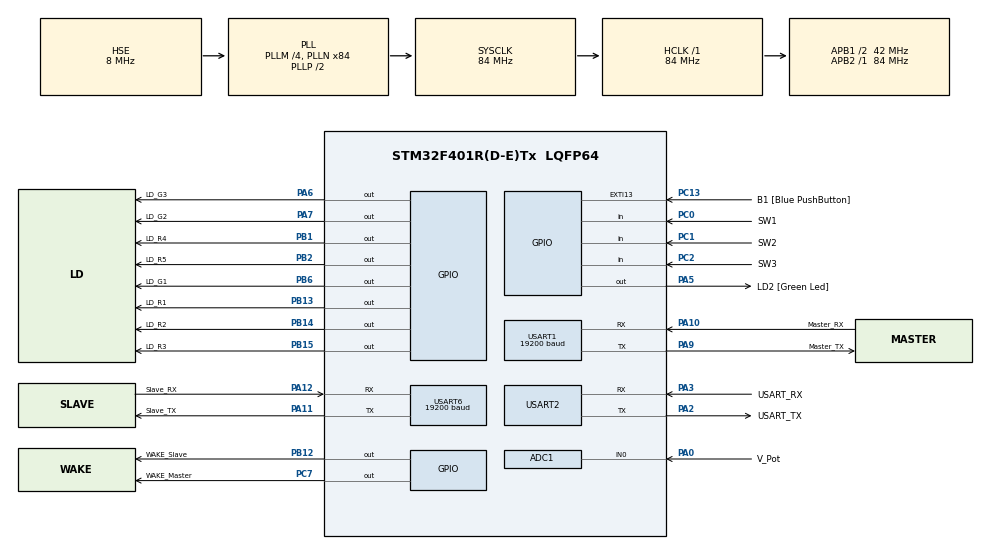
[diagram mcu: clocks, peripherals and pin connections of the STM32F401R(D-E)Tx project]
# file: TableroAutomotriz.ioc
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ADC1.Channel-1\#ChannelRegularConversion=ADC_CHANNEL_0
ADC1.NbrOfConversionFlag=1
ADC1.Rank-1\#ChannelRegularConversion=1
ADC1.SamplingTime-1\#ChannelRegularConversion=ADC_SAMPLETIME_3CYCLES
ADC1.master=1
Mcu.Family=STM32F4
Mcu.Name=STM32F401R(D-E)Tx
Mcu.Package=LQFP64
NVIC.PriorityGroup=NVIC_PRIORITYGROUP_0
NVIC.USART6_IRQn=true\:0\:0\:false\:false\:true\:true\:true\:true
PA0-WKUP.GPIO_Label=V_Pot
PA0-WKUP.Signal=ADCx_IN0
PA10.GPIO_Label=Master_RX
PA10.Mode=LIN
PA10.Signal=USART1_RX
PA11.GPIO_Label=Slave_TX
PA11.Mode=LIN
PA11.Signal=USART6_TX
PA12.GPIO_Label=Slave_RX
PA12.Mode=LIN
PA12.Signal=USART6_RX
PA13.GPIO_Label=TMS
PA13.Mode=Serial_Wire
PA13.Signal=SYS_JTMS-SWDIO
PA14.GPIO_Label=TCK
PA14.Mode=Serial_Wire
PA14.Signal=SYS_JTCK-SWCLK
PA2.GPIO_Label=USART_TX
PA2.GPIO_Mode=GPIO_MODE_AF_PP
PA2.GPIO_PuPd=GPIO_NOPULL
PA2.GPIO_Speed=GPIO_SPEED_FREQ_LOW
PA2.Mode=Asynchronous
PA2.Signal=USART2_TX
PA3.GPIO_Label=USART_RX
PA3.GPIO_Mode=GPIO_MODE_AF_PP
PA3.GPIO_PuPd=GPIO_NOPULL
PA3.GPIO_Speed=GPIO_SPEED_FREQ_LOW
PA3.Mode=Asynchronous
PA3.Signal=USART2_RX
PA5.GPIO_Label=LD2 [Green Led]
PA5.GPIO_Mode=GPIO_MODE_OUTPUT_PP
PA5.GPIO_PuPd=GPIO_NOPULL
PA5.GPIO_Speed=GPIO_SPEED_FREQ_LOW
PA5.Signal=GPIO_Output
PA6.GPIO_Label=LD_G3
PA6.Signal=GPIO_Output
PA7.GPIO_Label=LD_G2
PA7.Signal=GPIO_Output
PA9.GPIO_Label=Master_TX
PA9.Mode=LIN
PA9.Signal=USART1_TX
PB1.GPIO_Label=LD_R4
PB1.Signal=GPIO_Output
PB12.GPIO_Label=WAKE_Slave
PB12.GPIO_ModeDefaultOutputPP=GPIO_MODE_OUTPUT_PP
PB12.GPIO_PuPd=GPIO_NOPULL
PB12.GPIO_Speed=GPIO_SPEED_FREQ_LOW
PB12.PinState=GPIO_PIN_RESET
PB12.Signal=GPIO_Output
PB13.GPIO_Label=LD_R1
PB13.Signal=GPIO_Output
PB14.GPIO_Label=LD_R2
PB14.Signal=GPIO_Output
PB15.GPIO_Label=LD_R3
PB15.Signal=GPIO_Output
PB2.GPIO_Label=LD_R5
PB2.Signal=GPIO_Output
PB3.GPIO_Label=SWO
PB3.Signal=SYS_JTDO-SWO
PB6.GPIO_Label=LD_G1
PB6.Signal=GPIO_Output
PC0.GPIO_Label=SW1
PC0.GPIO_Mode=GPIO_MODE_INPUT
PC0.GPIO_PuPd=GPIO_PULLUP
PC0.Signal=GPIO_Input
PC1.GPIO_Label=SW2
PC1.GPIO_Mode=GPIO_MODE_INPUT
PC1.GPIO_PuPd=GPIO_PULLUP
PC1.Signal=GPIO_Input
PC13-ANTI_TAMP.GPIO_Label=B1 [Blue PushButton]
PC13-ANTI_TAMP.GPIO_ModeDefaultEXTI=GPIO_MODE_IT_FALLING
PC13-ANTI_TAMP.GPIO_PuPd=GPIO_NOPULL
PC13-ANTI_TAMP.Signal=GPXTI13
PC14-OSC32_IN.Mode=LSE-External-Oscillator
PC14-OSC32_IN.Signal=RCC_OSC32_IN
PC15-OSC32_OUT.Mode=LSE-External-Oscillator
PC15-OSC32_OUT.Signal=RCC_OSC32_OUT
PC2.GPIO_Label=SW3
PC2.GPIO_Mode=GPIO_MODE_INPUT
PC2.GPIO_PuPd=GPIO_PULLUP
PC2.Signal=GPIO_Input
PC7.GPIO_Label=WAKE_Master
PC7.GPIO_ModeDefaultOutputPP=GPIO_MODE_OUTPUT_PP
PC7.GPIO_PuPd=GPIO_NOPULL
PC7.GPIO_Speed=GPIO_SPEED_FREQ_LOW
PC7.PinState=GPIO_PIN_RESET
PC7.Signal=GPIO_Output
PH0\ -\ OSC_IN.Mode=HSE-External-Clock-Source
PH0\ -\ OSC_IN.Signal=RCC_OSC_IN
PH1\ -\ OSC_OUT.Mode=HSE-External-Clock-Source
PH1\ -\ OSC_OUT.Signal=RCC_OSC_OUT
ProjectManager.HeapSize=0x200
ProjectManager.StackSize=0x400
ProjectManager.TargetToolchain=STM32CubeIDE
RCC.48MHZClocksFreq_Value=24000000
RCC.AHBFreq_Value=84000000
RCC.APB1CLKDivider=RCC_HCLK_DIV2
RCC.APB1Freq_Value=42000000
RCC.APB1TimFreq_Value=84000000
RCC.APB2Freq_Value=84000000
RCC.APB2TimFreq_Value=84000000
RCC.CortexFreq_Value=84000000
RCC.HCLKFreq_Value=84000000
RCC.HSE_VALUE=8000000
RCC.HSI_VALUE=16000000
RCC.PLLM=4
RCC.PLLN=84
RCC.PLLQ=7
RCC.PLLSourceVirtual=RCC_PLLSOURCE_HSE
RCC.SYSCLKFreq_VALUE=84000000
RCC.SYSCLKSource=RCC_SYSCLKSOURCE_PLLCLK
RCC.VCOOutputFreq_Value=168000000
SH.ADCx_IN0.0=ADC1_IN0,IN0
USART1.BaudRate=19200
USART1.VirtualMode=VM_ASYNC
USART2.VirtualMode=VM_ASYNC
USART6.BaudRate=19200
USART6.VirtualMode=VM_ASYNC
board=NUCLEO-F401RE

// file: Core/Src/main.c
/* USER CODE BEGIN Header */
/**
  ******************************************************************************
  * @file           : main.c
  * @brief          : Main program body
  ******************************************************************************
  * @attention
  *
  * Copyright (c) 2026 STMicroelectronics.
  * All rights reserved.
  *
  * This software is licensed under terms that can be found in the LICENSE file
  * in the root directory of this software component.
  * If no LICENSE file comes with this software, it is provided AS-IS.
  *
  ******************************************************************************
  */
/* USER CODE END Header */
#include "main.h"

/* USER CODE BEGIN Includes */
#include <stdio.h>
#include <string.h>
/* USER CODE END Includes */

/* USER CODE BEGIN PD */
#define DIAG_DURATION 10000 //in milliseconds
#define DIAG_ON		1
#define DIAG_OFF 	0

#define SYNC		0x55
#define PID_DIAG	0x3C
#define PID_NORM	0x10
#define PID_SLSL 	0x20
/* USER CODE END PD */

ADC_HandleTypeDef hadc1;

UART_HandleTypeDef huart1;
UART_HandleTypeDef huart2;
UART_HandleTypeDef huart6;

/* USER CODE BEGIN PV */
extern UART_HandleTypeDef huart6;

// Variables para la recepción LIN (Esclavo en UART6)
volatile uint8_t lin_rx_byte;
volatile uint8_t lin_rx_buffer[8];
volatile uint8_t lin_rx_state = 0;
volatile uint8_t lin_rx_pid = 0;
volatile uint8_t lin_rx_index = 0;

// Estados MdE Slave
#define STATE_WAITING		0
#define STATE_PROCESS_PID	1
#define STATE_NORMAL		2
#define STATE_DIAGNOSTIC	3
#define STATE_SLAVE_SLAVE	4

// Variables para Diagnóstico (Punto 2)
volatile uint8_t modo_diagnostico_activo = DIAG_OFF;
volatile uint32_t tiempo_inicio_diagnostico = 0;
/* USER CODE END PV */

void SystemClock_Config(void);
static void MX_GPIO_Init(void);
static void MX_USART2_UART_Init(void);
static void MX_ADC1_Init(void);
static void MX_USART1_UART_Init(void);
static void MX_USART6_UART_Init(void);

/* USER CODE BEGIN 0 */
volatile uint32_t value_read_ADC;
volatile uint8_t debug_placa = 0;

void Test_Placa_Hardware(void);
uint8_t Calcular_Checksum(uint8_t *data, uint8_t length);
void Procesar_Trama_Esclavo(void);
/* USER CODE END 0 */

int main(void)
{

  /* MCU Configuration--------------------------------------------------------*/

  /* Reset of all peripherals, Initializes the Flash interface and the Systick. */
  HAL_Init();

  /* Configure the system clock */
  SystemClock_Config();

  /* Initialize all configured peripherals */
  MX_GPIO_Init();
  MX_USART2_UART_Init();
  MX_ADC1_Init();
  MX_USART1_UART_Init();
  MX_USART6_UART_Init();
  /* USER CODE BEGIN 2 */
  // NOTA: Los transceptores TJA1020 se inicializan por hardware de forma permanente
  // (NSLP está cableado a 3.3V y NWAKE fue físicamente desconectado de la STM32)

  // Iniciar la recepción por interrupción para el Esclavo (UART6)
  HAL_UART_Receive_IT(&huart6, (uint8_t *)&lin_rx_byte, 1);
  /* USER CODE END 2 */

  /* Infinite loop */
  /* USER CODE BEGIN WHILE */
  while (1)
  {
	  if(!debug_placa){
		  // --- CHEQUEO DE BOTON PARA DIAGNOSTICO (PUNTO 2) ---
		  // Usamos el boton azul de la Nucleo (PC13)
		  if (HAL_GPIO_ReadPin(GPIOC, GPIO_PIN_13) == GPIO_PIN_RESET) {
			  modo_diagnostico_activo = DIAG_ON;
			  tiempo_inicio_diagnostico = HAL_GetTick();
		  }

		  // Control de tiempo de diagnóstico (10 segundos)
		  if (modo_diagnostico_activo) {
			  if ((HAL_GetTick() - tiempo_inicio_diagnostico) > DIAG_DURATION) {
				  modo_diagnostico_activo = DIAG_OFF;
			  }
		  }

		  /* --- LOGICA DEL MASTER (UART1) --- */
		  uint8_t lin_header[2];
		  uint8_t lin_data[4];
		  uint8_t checksum;

		  if (modo_diagnostico_activo) {
			  // PUNTO 2: Trama Diagnóstico
			  HAL_LIN_SendBreak(&huart1);
			  lin_header[0] = SYNC;	// Sync 0b01010101
			  lin_header[1] = PID_DIAG; // PID Diagnostico
			  HAL_UART_Transmit(&huart1, lin_header, 2, 10);

			  lin_data[0] = 0xFF; // Comando generico
			  checksum = Calcular_Checksum(lin_data, 1);
			  HAL_UART_Transmit(&huart1, lin_data, 1, 10);
			  HAL_UART_Transmit(&huart1, &checksum, 1, 10);

		  } else {
			  // Leer sensores directos
			  HAL_ADC_Start(&hadc1);
			  HAL_ADC_PollForConversion(&hadc1, 10);
			  uint16_t pot_val = HAL_ADC_GetValue(&hadc1);

			  uint8_t sw_state = 0;
			  if (HAL_GPIO_ReadPin(GPIOC, SW1_Pin) == GPIO_PIN_RESET) sw_state |= 0x01;
			  if (HAL_GPIO_ReadPin(GPIOC, SW2_Pin) == GPIO_PIN_RESET) sw_state |= 0x02;
			  if (HAL_GPIO_ReadPin(GPIOC, SW3_Pin) == GPIO_PIN_RESET) sw_state |= 0x04;

			  // PUNTO 1: Trama Normal
			  HAL_LIN_SendBreak(&huart1);
			  lin_header[0] = SYNC;
			  lin_header[1] = PID_NORM; // PID Normal
			  HAL_UART_Transmit(&huart1, lin_header, 2, 10);

			  lin_data[0] = sw_state;
			  lin_data[1] = (uint8_t)(pot_val >> 4);
			  checksum = Calcular_Checksum(lin_data, 2);
			  HAL_UART_Transmit(&huart1, lin_data, 2, 10);
			  HAL_UART_Transmit(&huart1, &checksum, 1, 10);

			  HAL_Delay(10); // Pausa entre tramas del schedule table

			  // PUNTO 3: Trama Multi-Slave

			  HAL_LIN_SendBreak(&huart1);
			  lin_header[0] = SYNC;
			  lin_header[1] = PID_SLSL; // PID Slave-to-Slave
			  HAL_UART_Transmit(&huart1, lin_header, 2, 10);

			  lin_data[0] = (uint8_t)(pot_val >> 4);
			  checksum = Calcular_Checksum(lin_data, 1);
			  HAL_UART_Transmit(&huart1, lin_data, 1, 10);
			  HAL_UART_Transmit(&huart1, &checksum, 1, 10);
		  }

		  HAL_Delay(100); // Ciclo de 100ms
  	  }else{
  		// Opcional: Para testear directo sin LIN, descomentar la siguiente linea:
  		Test_Placa_Hardware();
  	  }

    /* USER CODE END WHILE */

  }
}

void SystemClock_Config(void)
{
  RCC_OscInitTypeDef RCC_OscInitStruct = {0};
  RCC_ClkInitTypeDef RCC_ClkInitStruct = {0};

  /** Configure the main internal regulator output voltage
  */
  __HAL_RCC_PWR_CLK_ENABLE();
  __HAL_PWR_VOLTAGESCALING_CONFIG(PWR_REGULATOR_VOLTAGE_SCALE2);

  /** Initializes the RCC Oscillators according to the specified parameters
  * in the RCC_OscInitTypeDef structure.
  */
  RCC_OscInitStruct.OscillatorType = RCC_OSCILLATORTYPE_HSE;
  RCC_OscInitStruct.HSEState = RCC_HSE_BYPASS;
  RCC_OscInitStruct.PLL.PLLState = RCC_PLL_ON;
  RCC_OscInitStruct.PLL.PLLSource = RCC_PLLSOURCE_HSE;
  RCC_OscInitStruct.PLL.PLLM = 4;
  RCC_OscInitStruct.PLL.PLLN = 84;
  RCC_OscInitStruct.PLL.PLLP = RCC_PLLP_DIV2;
  RCC_OscInitStruct.PLL.PLLQ = 7;
  if (HAL_RCC_OscConfig(&RCC_OscInitStruct) != HAL_OK)
  {
    Error_Handler();
  }

  /** Initializes the CPU, AHB and APB buses clocks
  */
  RCC_ClkInitStruct.ClockType = RCC_CLOCKTYPE_HCLK|RCC_CLOCKTYPE_SYSCLK
                              |RCC_CLOCKTYPE_PCLK1|RCC_CLOCKTYPE_PCLK2;
  RCC_ClkInitStruct.SYSCLKSource = RCC_SYSCLKSOURCE_PLLCLK;
  RCC_ClkInitStruct.AHBCLKDivider = RCC_SYSCLK_DIV1;
  RCC_ClkInitStruct.APB1CLKDivider = RCC_HCLK_DIV2;
  RCC_ClkInitStruct.APB2CLKDivider = RCC_HCLK_DIV1;

  if (HAL_RCC_ClockConfig(&RCC_ClkInitStruct, FLASH_LATENCY_2) != HAL_OK)
  {
    Error_Handler();
  }
}

static void MX_ADC1_Init(void)
{

  ADC_ChannelConfTypeDef sConfig = {0};

  /** Configure the global features of the ADC (Clock, Resolution, Data Alignment and number of conversion)
  */
  hadc1.Instance = ADC1;
  hadc1.Init.ClockPrescaler = ADC_CLOCK_SYNC_PCLK_DIV4;
  hadc1.Init.Resolution = ADC_RESOLUTION_12B;
  hadc1.Init.ScanConvMode = DISABLE;
  hadc1.Init.ContinuousConvMode = DISABLE;
  hadc1.Init.DiscontinuousConvMode = DISABLE;
  hadc1.Init.ExternalTrigConvEdge = ADC_EXTERNALTRIGCONVEDGE_NONE;
  hadc1.Init.ExternalTrigConv = ADC_SOFTWARE_START;
  hadc1.Init.DataAlign = ADC_DATAALIGN_RIGHT;
  hadc1.Init.NbrOfConversion = 1;
  hadc1.Init.DMAContinuousRequests = DISABLE;
  hadc1.Init.EOCSelection = ADC_EOC_SINGLE_CONV;
  if (HAL_ADC_Init(&hadc1) != HAL_OK)
  {
    Error_Handler();
  }

  /** Configure for the selected ADC regular channel its corresponding rank in the sequencer and its sample time.
  */
  sConfig.Channel = ADC_CHANNEL_0;
  sConfig.Rank = 1;
  sConfig.SamplingTime = ADC_SAMPLETIME_3CYCLES;
  if (HAL_ADC_ConfigChannel(&hadc1, &sConfig) != HAL_OK)
  {
    Error_Handler();
  }

}

static void MX_USART1_UART_Init(void)
{

  huart1.Instance = USART1;
  huart1.Init.BaudRate = 19200;
  huart1.Init.WordLength = UART_WORDLENGTH_8B;
  huart1.Init.StopBits = UART_STOPBITS_1;
  huart1.Init.Parity = UART_PARITY_NONE;
  huart1.Init.Mode = UART_MODE_TX_RX;
  huart1.Init.HwFlowCtl = UART_HWCONTROL_NONE;
  huart1.Init.OverSampling = UART_OVERSAMPLING_16;
  if (HAL_LIN_Init(&huart1, UART_LINBREAKDETECTLENGTH_10B) != HAL_OK)
  {
    Error_Handler();
  }

}

static void MX_USART2_UART_Init(void)
{

  huart2.Instance = USART2;
  huart2.Init.BaudRate = 115200;
  huart2.Init.WordLength = UART_WORDLENGTH_8B;
  huart2.Init.StopBits = UART_STOPBITS_1;
  huart2.Init.Parity = UART_PARITY_NONE;
  huart2.Init.Mode = UART_MODE_TX_RX;
  huart2.Init.HwFlowCtl = UART_HWCONTROL_NONE;
  huart2.Init.OverSampling = UART_OVERSAMPLING_16;
  if (HAL_UART_Init(&huart2) != HAL_OK)
  {
    Error_Handler();
  }

}

static void MX_USART6_UART_Init(void)
{

  huart6.Instance = USART6;
  huart6.Init.BaudRate = 19200;
  huart6.Init.WordLength = UART_WORDLENGTH_8B;
  huart6.Init.StopBits = UART_STOPBITS_1;
  huart6.Init.Parity = UART_PARITY_NONE;
  huart6.Init.Mode = UART_MODE_TX_RX;
  huart6.Init.HwFlowCtl = UART_HWCONTROL_NONE;
  huart6.Init.OverSampling = UART_OVERSAMPLING_16;
  if (HAL_LIN_Init(&huart6, UART_LINBREAKDETECTLENGTH_10B) != HAL_OK)
  {
    Error_Handler();
  }

}

static void MX_GPIO_Init(void)
{
  GPIO_InitTypeDef GPIO_InitStruct = {0};

  /* GPIO Ports Clock Enable */
  __HAL_RCC_GPIOC_CLK_ENABLE();
  __HAL_RCC_GPIOH_CLK_ENABLE();
  __HAL_RCC_GPIOA_CLK_ENABLE();
  __HAL_RCC_GPIOB_CLK_ENABLE();

  /*Configure GPIO pin Output Level */
  HAL_GPIO_WritePin(GPIOA, LD2_Pin|LD_G3_Pin|LD_G2_Pin, GPIO_PIN_RESET);

  /*Configure GPIO pin Output Level */
  HAL_GPIO_WritePin(GPIOB, LD_R4_Pin|LD_R5_Pin|WAKE_Slave_Pin|LD_R1_Pin
                          |LD_R2_Pin|LD_R3_Pin|LD_G1_Pin, GPIO_PIN_RESET);

  /*Configure GPIO pin Output Level */
  HAL_GPIO_WritePin(WAKE_Master_GPIO_Port, WAKE_Master_Pin, GPIO_PIN_RESET);

  /*Configure GPIO pin : B1_Pin */
  GPIO_InitStruct.Pin = B1_Pin;
  GPIO_InitStruct.Mode = GPIO_MODE_IT_FALLING;
  GPIO_InitStruct.Pull = GPIO_NOPULL;
  HAL_GPIO_Init(B1_GPIO_Port, &GPIO_InitStruct);

  /*Configure GPIO pins : SW1_Pin SW2_Pin SW3_Pin */
  GPIO_InitStruct.Pin = SW1_Pin|SW2_Pin|SW3_Pin;
  GPIO_InitStruct.Mode = GPIO_MODE_INPUT;
  GPIO_InitStruct.Pull = GPIO_PULLUP;
  HAL_GPIO_Init(GPIOC, &GPIO_InitStruct);

  /*Configure GPIO pins : LD2_Pin LD_G3_Pin LD_G2_Pin */
  GPIO_InitStruct.Pin = LD2_Pin|LD_G3_Pin|LD_G2_Pin;
  GPIO_InitStruct.Mode = GPIO_MODE_OUTPUT_PP;
  GPIO_InitStruct.Pull = GPIO_NOPULL;
  GPIO_InitStruct.Speed = GPIO_SPEED_FREQ_LOW;
  HAL_GPIO_Init(GPIOA, &GPIO_InitStruct);

  /*Configure GPIO pins : LD_R4_Pin LD_R5_Pin WAKE_Slave_Pin LD_R1_Pin
                           LD_R2_Pin LD_R3_Pin LD_G1_Pin */
  GPIO_InitStruct.Pin = LD_R4_Pin|LD_R5_Pin|WAKE_Slave_Pin|LD_R1_Pin
                          |LD_R2_Pin|LD_R3_Pin|LD_G1_Pin;
  GPIO_InitStruct.Mode = GPIO_MODE_OUTPUT_PP;
  GPIO_InitStruct.Pull = GPIO_NOPULL;
  GPIO_InitStruct.Speed = GPIO_SPEED_FREQ_LOW;
  HAL_GPIO_Init(GPIOB, &GPIO_InitStruct);

  /*Configure GPIO pin : WAKE_Master_Pin */
  GPIO_InitStruct.Pin = WAKE_Master_Pin;
  GPIO_InitStruct.Mode = GPIO_MODE_OUTPUT_PP;
  GPIO_InitStruct.Pull = GPIO_NOPULL;
  GPIO_InitStruct.Speed = GPIO_SPEED_FREQ_LOW;
  HAL_GPIO_Init(WAKE_Master_GPIO_Port, &GPIO_InitStruct);

}

/* USER CODE BEGIN 4 */
void HAL_UART_RxCpltCallback(UART_HandleTypeDef *huart) {
    if (huart->Instance == USART6) {
        // Máquina de estados del Esclavo
        switch(lin_rx_state) {
            case STATE_WAITING: // Sync
                if (lin_rx_byte == 0x55) lin_rx_state = STATE_PROCESS_PID;
                break;
            case STATE_PROCESS_PID: // PID
                lin_rx_pid = lin_rx_byte;
                lin_rx_index = 0;
                if (lin_rx_pid == 0x10) lin_rx_state = STATE_NORMAL;
                else if (lin_rx_pid == 0x3C) lin_rx_state = STATE_DIAGNOSTIC;
                else if (lin_rx_pid == 0x20) lin_rx_state = STATE_SLAVE_SLAVE;
                else lin_rx_state = STATE_WAITING;
                break;
            case STATE_NORMAL: // Recibir P1
                lin_rx_buffer[lin_rx_index++] = lin_rx_byte;
                if (lin_rx_index == 3) { // 2 data + 1 chk
                    if (lin_rx_buffer[2] == Calcular_Checksum((uint8_t*)lin_rx_buffer, 2)) {
                        Procesar_Trama_Esclavo();
                    }
                    lin_rx_state = STATE_WAITING;
                }
                break;
            case STATE_DIAGNOSTIC: // Recibir P2 (Diagnóstico)
                lin_rx_buffer[lin_rx_index++] = lin_rx_byte;
                if (lin_rx_index == 2) { // 1 data + 1 chk
                    if (lin_rx_buffer[1] == Calcular_Checksum((uint8_t*)lin_rx_buffer, 1)) {
                        HAL_GPIO_TogglePin(GPIOA, GPIO_PIN_6|GPIO_PIN_7);
                        HAL_GPIO_TogglePin(GPIOB, GPIO_PIN_6);
                        HAL_GPIO_TogglePin(GPIOB, GPIO_PIN_1|GPIO_PIN_2|GPIO_PIN_13|GPIO_PIN_14|GPIO_PIN_15);
                    }
                    lin_rx_state = STATE_WAITING;
                }
                break;
            case STATE_SLAVE_SLAVE: // Recibir P3 (Multi-Slave)
                lin_rx_buffer[lin_rx_index++] = lin_rx_byte;
                if (lin_rx_index == 2) { // 1 data + 1 chk
                    if (lin_rx_buffer[1] == Calcular_Checksum((uint8_t*)lin_rx_buffer, 1)) {
                        uint8_t pot = lin_rx_buffer[0];
                        HAL_GPIO_WritePin(GPIOB, GPIO_PIN_13,  (pot > 40)  ? GPIO_PIN_SET : GPIO_PIN_RESET);
                        HAL_GPIO_WritePin(GPIOB, GPIO_PIN_14,  (pot > 80)  ? GPIO_PIN_SET : GPIO_PIN_RESET);
                        HAL_GPIO_WritePin(GPIOB, GPIO_PIN_15,  (pot > 120) ? GPIO_PIN_SET : GPIO_PIN_RESET);
                        HAL_GPIO_WritePin(GPIOB, GPIO_PIN_1, (pot > 160) ? GPIO_PIN_SET : GPIO_PIN_RESET);
                        HAL_GPIO_WritePin(GPIOB, GPIO_PIN_2, (pot > 200) ? GPIO_PIN_SET : GPIO_PIN_RESET);
                        //HAL_GPIO_WritePin(GPIOB, GPIO_PIN_15, (pot > 240) ? GPIO_PIN_SET : GPIO_PIN_RESET);
                    }
                    lin_rx_state = STATE_WAITING;
                }
                break;
            default:
                lin_rx_state = STATE_WAITING;
                break;
        }

        // Relanzar interrupción
        HAL_UART_Receive_IT(&huart6, (uint8_t *)&lin_rx_byte, 1);
    }
}

uint8_t Calcular_Checksum(uint8_t *data, uint8_t length) {
    uint16_t sum = 0;
    for (uint8_t i = 0; i < length; i++) {
        sum += data[i];
        if (sum > 0xFF) sum -= 0xFF;
    }
    return (uint8_t)(~sum);
}

void Procesar_Trama_Esclavo(void) {
    uint8_t sw_state = lin_rx_buffer[0];
    HAL_GPIO_WritePin(GPIOB, GPIO_PIN_6, (sw_state & 0x01) ? GPIO_PIN_SET : GPIO_PIN_RESET);
    HAL_GPIO_WritePin(GPIOA, GPIO_PIN_7, (sw_state & 0x02) ? GPIO_PIN_SET : GPIO_PIN_RESET);
    HAL_GPIO_WritePin(GPIOA, GPIO_PIN_6, (sw_state & 0x04) ? GPIO_PIN_SET : GPIO_PIN_RESET);
}

void Test_Placa_Hardware(void) {
    HAL_ADC_Start(&hadc1);
    HAL_ADC_PollForConversion(&hadc1, 10);
    value_read_ADC = HAL_ADC_GetValue(&hadc1);

    uint32_t value_SW1 = HAL_GPIO_ReadPin(SW1_GPIO_Port, SW1_Pin);
    uint32_t value_SW2 = HAL_GPIO_ReadPin(SW2_GPIO_Port, SW2_Pin);
    uint32_t value_SW3 = HAL_GPIO_ReadPin(SW3_GPIO_Port, SW3_Pin);

    uint32_t led_validation = value_read_ADC / 600;

    switch(led_validation)
    {
        case 0:
            HAL_GPIO_WritePin(LD_R1_GPIO_Port, LD_R1_Pin, GPIO_PIN_RESET);
            HAL_GPIO_WritePin(LD_R2_GPIO_Port, LD_R2_Pin, GPIO_PIN_RESET);
            HAL_GPIO_WritePin(LD_R3_GPIO_Port, LD_R3_Pin, GPIO_PIN_RESET);
            HAL_GPIO_WritePin(LD_R4_GPIO_Port, LD_R4_Pin, GPIO_PIN_RESET);
            HAL_GPIO_WritePin(LD_R5_GPIO_Port, LD_R5_Pin, GPIO_PIN_RESET);
            break;
        case 1:
            HAL_GPIO_WritePin(LD_R1_GPIO_Port, LD_R1_Pin, GPIO_PIN_SET);
            HAL_GPIO_WritePin(LD_R2_GPIO_Port, LD_R2_Pin, GPIO_PIN_RESET);
            HAL_GPIO_WritePin(LD_R3_GPIO_Port, LD_R3_Pin, GPIO_PIN_RESET);
            HAL_GPIO_WritePin(LD_R4_GPIO_Port, LD_R4_Pin, GPIO_PIN_RESET);
            HAL_GPIO_WritePin(LD_R5_GPIO_Port, LD_R5_Pin, GPIO_PIN_RESET);
            break;
        case 2:
            HAL_GPIO_WritePin(LD_R1_GPIO_Port, LD_R1_Pin, GPIO_PIN_SET);
            HAL_GPIO_WritePin(LD_R2_GPIO_Port, LD_R2_Pin, GPIO_PIN_SET);
            HAL_GPIO_WritePin(LD_R3_GPIO_Port, LD_R3_Pin, GPIO_PIN_RESET);
            HAL_GPIO_WritePin(LD_R4_GPIO_Port, LD_R4_Pin, GPIO_PIN_RESET);
            HAL_GPIO_WritePin(LD_R5_GPIO_Port, LD_R5_Pin, GPIO_PIN_RESET);
            break;
        case 3:
            HAL_GPIO_WritePin(LD_R1_GPIO_Port, LD_R1_Pin, GPIO_PIN_SET);
            HAL_GPIO_WritePin(LD_R2_GPIO_Port, LD_R2_Pin, GPIO_PIN_SET);
            HAL_GPIO_WritePin(LD_R3_GPIO_Port, LD_R3_Pin, GPIO_PIN_SET);
            HAL_GPIO_WritePin(LD_R4_GPIO_Port, LD_R4_Pin, GPIO_PIN_RESET);
            HAL_GPIO_WritePin(LD_R5_GPIO_Port, LD_R5_Pin, GPIO_PIN_RESET);
            break;
        case 4:
            HAL_GPIO_WritePin(LD_R1_GPIO_Port, LD_R1_Pin, GPIO_PIN_SET);
            HAL_GPIO_WritePin(LD_R2_GPIO_Port, LD_R2_Pin, GPIO_PIN_SET);
            HAL_GPIO_WritePin(LD_R3_GPIO_Port, LD_R3_Pin, GPIO_PIN_SET);
            HAL_GPIO_WritePin(LD_R4_GPIO_Port, LD_R4_Pin, GPIO_PIN_SET);
            HAL_GPIO_WritePin(LD_R5_GPIO_Port, LD_R5_Pin, GPIO_PIN_RESET);
            break;
        case 5:
            HAL_GPIO_WritePin(LD_R1_GPIO_Port, LD_R1_Pin, GPIO_PIN_SET);
            HAL_GPIO_WritePin(LD_R2_GPIO_Port, LD_R2_Pin, GPIO_PIN_SET);
            HAL_GPIO_WritePin(LD_R3_GPIO_Port, LD_R3_Pin, GPIO_PIN_SET);
            HAL_GPIO_WritePin(LD_R4_GPIO_Port, LD_R4_Pin, GPIO_PIN_SET);
            HAL_GPIO_WritePin(LD_R5_GPIO_Port, LD_R5_Pin, GPIO_PIN_SET);
            break;
    }

    if(!value_SW1)
        HAL_GPIO_WritePin(LD_G1_GPIO_Port, LD_G1_Pin, GPIO_PIN_SET);
    else
        HAL_GPIO_WritePin(LD_G1_GPIO_Port, LD_G1_Pin, GPIO_PIN_RESET);

    if(!value_SW2)
        HAL_GPIO_WritePin(LD_G2_GPIO_Port, LD_G2_Pin, GPIO_PIN_SET);
    else
        HAL_GPIO_WritePin(LD_G2_GPIO_Port, LD_G2_Pin, GPIO_PIN_RESET);

    if(!value_SW3)
        HAL_GPIO_WritePin(LD_G3_GPIO_Port, LD_G3_Pin, GPIO_PIN_SET);
    else
        HAL_GPIO_WritePin(LD_G3_GPIO_Port, LD_G3_Pin, GPIO_PIN_RESET);

    char msg[50];
    sprintf(msg, "Valor ADC: %lu\r\n", value_read_ADC);
    HAL_UART_Transmit(&huart2, (uint8_t*)msg, strlen(msg), 100);
}
/* USER CODE END 4 */

void Error_Handler(void)
{
  __disable_irq();
  while (1)
  {
  }
}
